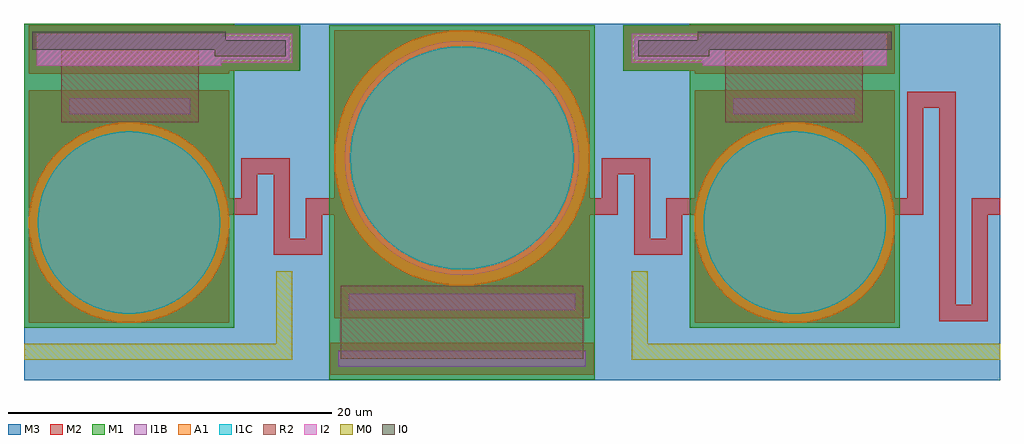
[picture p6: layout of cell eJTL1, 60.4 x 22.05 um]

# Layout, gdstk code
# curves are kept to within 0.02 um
from math import pi, radians
import gdstk
lib = gdstk.Library(unit=1e-6, precision=1e-09)
def R(c, l, rs):  # rectangles x0, y0, x1, y1
    for r in rs: c.add(gdstk.rectangle(r[:2], r[2:], *l))
def P(c, l, *ps):  # polygons
    for p in ps: c.add(gdstk.Polygon(p, *l))
M1 = (1, 0)
I1B = (3, 0)
I1C = (4, 0)
A1 = (5, 0)
M2 = (6, 0)
I2 = (8, 0)
R2 = (9, 0)
M3 = (10, 0)
M0 = (30, 0)
I0 = (31, 0)

meanderinductor_3 = lib.new_cell('MeanderInductor$3')
meanderinductor_3.add(gdstk.FlexPath([(-3.25,0),(-2,0),(-2,6.599),(0,6.599),(0,-6.599),(2,-6.599),(2,0),(3.25,0)], 1, ends="flush", simple_path=True, layer=6, datatype=0))  # M2

c_jj = lib.new_cell('JJ')
R(c_jj, M1, [(-8.21,-13.722,8.21,8.21)])
R(c_jj, I1B, [(-7.66,-12.922,7.66,-11.922), (-7,-9.41,7,-8.41)])
P(c_jj, I1B, [(0,-7.255),(-0.711,-7.22),(-1.415,-7.116),(-2.106,-6.943),(-2.777,-6.703),(-3.42,-6.399),(-4.031,-6.033),(-4.603,-5.608),(-5.13,-5.13),(-5.608,-4.603),(-6.033,-4.031),(-6.399,-3.42),(-6.703,-2.776),(-6.943,-2.106),(-7.116,-1.415),(-7.22,-0.711),(-7.255,0),(-7.22,0.711),(-7.116,1.415),(-6.943,2.106),(-6.703,2.777),(-6.399,3.42),(-6.033,4.031),(-5.608,4.603),(-5.13,5.13),(-4.603,5.608),(-4.031,6.033),(-3.42,6.399),(-2.777,6.703),(-2.106,6.943),(-1.415,7.116),(-0.711,7.22),(0,7.255),(0.711,7.22),(1.415,7.116),(2.106,6.943),(2.777,6.703),(3.42,6.399),(4.031,6.033),(4.603,5.608),(5.13,5.13),(5.608,4.603),(6.033,4.031),(6.399,3.42),(6.703,2.777),(6.943,2.106),(7.116,1.415),(7.22,0.711),(7.255,0),(7.22,-0.711),(7.116,-1.415),(6.943,-2.106),(6.703,-2.777),(6.399,-3.42),(6.033,-4.031),(5.608,-4.603),(5.13,-5.13),(4.603,-5.609),(4.031,-6.033),(3.42,-6.399),(2.776,-6.703),(2.106,-6.943),(1.415,-7.116),(0.711,-7.22)])
P(c_jj, I1C, [(0,-6.91),(-0.677,-6.877),(-1.348,-6.777),(-2.006,-6.612),(-2.644,-6.384),(-3.257,-6.094),(-3.839,-5.745),(-4.384,-5.341),(-4.886,-4.886),(-5.341,-4.384),(-5.745,-3.839),(-6.094,-3.257),(-6.384,-2.644),(-6.612,-2.006),(-6.777,-1.348),(-6.877,-0.677),(-6.91,0),(-6.877,0.677),(-6.777,1.348),(-6.612,2.006),(-6.384,2.644),(-6.094,3.257),(-5.745,3.839),(-5.341,4.384),(-4.886,4.886),(-4.384,5.341),(-3.839,5.745),(-3.257,6.094),(-2.644,6.384),(-2.006,6.612),(-1.348,6.777),(-0.677,6.877),(0,6.91),(0.677,6.877),(1.348,6.777),(2.006,6.612),(2.644,6.384),(3.257,6.094),(3.839,5.745),(4.384,5.341),(4.886,4.886),(5.341,4.384),(5.745,3.839),(6.094,3.257),(6.384,2.644),(6.612,2.006),(6.777,1.348),(6.877,0.677),(6.91,0),(6.877,-0.677),(6.777,-1.348),(6.612,-2.006),(6.384,-2.644),(6.094,-3.257),(5.745,-3.839),(5.341,-4.384),(4.886,-4.886),(4.384,-5.341),(3.839,-5.745),(3.257,-6.094),(2.644,-6.384),(2.006,-6.612),(1.348,-6.777),(0.677,-6.877)])
P(c_jj, A1, [(0,-7.91),(-0.775,-7.872),(-1.543,-7.758),(-2.296,-7.569),(-3.027,-7.308),(-3.729,-6.976),(-4.395,-6.577),(-5.018,-6.114),(-5.593,-5.593),(-6.115,-5.018),(-6.577,-4.395),(-6.976,-3.729),(-7.308,-3.027),(-7.569,-2.296),(-7.758,-1.543),(-7.872,-0.775),(-7.91,0),(-7.872,0.775),(-7.758,1.543),(-7.569,2.296),(-7.308,3.027),(-6.976,3.729),(-6.577,4.395),(-6.115,5.018),(-5.593,5.593),(-5.018,6.115),(-4.395,6.577),(-3.729,6.976),(-3.027,7.308),(-2.296,7.569),(-1.543,7.758),(-0.775,7.872),(0,7.91),(0.775,7.872),(1.543,7.758),(2.296,7.569),(3.027,7.308),(3.729,6.976),(4.395,6.577),(5.018,6.115),(5.593,5.593),(6.115,5.018),(6.577,4.395),(6.976,3.729),(7.308,3.027),(7.569,2.296),(7.758,1.543),(7.872,0.775),(7.91,0),(7.872,-0.775),(7.758,-1.543),(7.569,-2.296),(7.308,-3.027),(6.976,-3.729),(6.577,-4.395),(6.114,-5.018),(5.593,-5.593),(5.018,-6.115),(4.395,-6.577),(3.729,-6.976),(3.027,-7.308),(2.296,-7.569),(1.543,-7.758),(0.775,-7.872)])
R(c_jj, M2, [(-8.16,-13.422,8.16,-11.422), (-7.91,-9.91,7.91,-7.91), (-7.91,-7.91,7.91,7.91)])
R(c_jj, M3, [(-8.21,-13.722,8.21,8.21)])
c_jj.add(gdstk.FlexPath([(0,-7.91),(0,-12.422)], 15, ends="flush", simple_path=True, layer=9, datatype=0))  # R2

ak_qc1p2j000 = lib.new_cell('ak_qc1p2j000')
P(ak_qc1p2j000, I1B, [(0,-5.6),(-0.585,-5.569),(-1.164,-5.478),(-1.73,-5.326),(-2.188,-5.155),(-2.629,-4.945),(-3.131,-4.643),(-3.6,-4.29),(-3.96,-3.96),(-4.29,-3.6),(-4.643,-3.131),(-4.945,-2.629),(-5.155,-2.188),(-5.326,-1.73),(-5.478,-1.164),(-5.569,-0.585),(-5.6,0),(-5.569,0.585),(-5.478,1.164),(-5.326,1.73),(-5.155,2.188),(-4.945,2.629),(-4.643,3.131),(-4.29,3.6),(-3.96,3.96),(-3.6,4.29),(-3.131,4.643),(-2.629,4.945),(-2.188,5.155),(-1.73,5.326),(-1.164,5.478),(-0.585,5.569),(0,5.6),(0.585,5.569),(1.164,5.478),(1.73,5.326),(2.188,5.155),(2.629,4.945),(3.131,4.643),(3.6,4.29),(3.96,3.96),(4.29,3.6),(4.643,3.131),(4.945,2.629),(5.155,2.188),(5.326,1.73),(5.478,1.164),(5.569,0.585),(5.6,0),(5.569,-0.585),(5.478,-1.164),(5.326,-1.73),(5.155,-2.188),(4.945,-2.629),(4.643,-3.131),(4.29,-3.6),(3.96,-3.96),(3.6,-4.29),(3.131,-4.643),(2.629,-4.945),(2.188,-5.155),(1.73,-5.326),(1.164,-5.478),(0.585,-5.569)])
P(ak_qc1p2j000, I1C, [(0,-5.642),(-0.59,-5.611),(-1.077,-5.538),(-1.65,-5.395),(-2.113,-5.231),(-2.561,-5.027),(-3.073,-4.732),(-3.551,-4.385),(-3.989,-3.989),(-4.385,-3.551),(-4.732,-3.073),(-5.027,-2.561),(-5.231,-2.113),(-5.395,-1.65),(-5.538,-1.077),(-5.611,-0.59),(-5.642,0),(-5.611,0.59),(-5.538,1.077),(-5.395,1.65),(-5.231,2.113),(-5.027,2.561),(-4.732,3.073),(-4.385,3.551),(-3.989,3.989),(-3.551,4.385),(-3.073,4.732),(-2.561,5.027),(-2.113,5.231),(-1.65,5.395),(-1.077,5.538),(-0.59,5.611),(0,5.642),(0.59,5.611),(1.077,5.538),(1.65,5.395),(2.113,5.231),(2.561,5.027),(3.073,4.732),(3.551,4.385),(3.989,3.989),(4.385,3.551),(4.732,3.073),(5.027,2.561),(5.231,2.113),(5.395,1.65),(5.538,1.077),(5.611,0.59),(5.642,0),(5.611,-0.59),(5.538,-1.077),(5.395,-1.65),(5.231,-2.113),(5.027,-2.561),(4.732,-3.073),(4.385,-3.551),(3.989,-3.989),(3.551,-4.385),(3.073,-4.732),(2.561,-5.027),(2.113,-5.231),(1.65,-5.395),(1.077,-5.538),(0.59,-5.611)])
P(ak_qc1p2j000, A1, [(0,-6.2),(-0.648,-6.166),(-1.183,-6.086),(-1.709,-5.96),(-2.323,-5.749),(-2.911,-5.474),(-3.377,-5.2),(-3.902,-4.818),(-4.384,-4.384),(-4.818,-3.902),(-5.2,-3.377),(-5.474,-2.911),(-5.749,-2.323),(-5.96,-1.709),(-6.086,-1.183),(-6.166,-0.648),(-6.2,0),(-6.166,0.648),(-6.086,1.183),(-5.96,1.709),(-5.749,2.323),(-5.474,2.911),(-5.2,3.377),(-4.818,3.902),(-4.384,4.384),(-3.902,4.818),(-3.377,5.2),(-2.911,5.474),(-2.323,5.749),(-1.709,5.96),(-1.183,6.086),(-0.648,6.166),(0,6.2),(0.648,6.166),(1.183,6.086),(1.709,5.96),(2.323,5.749),(2.911,5.474),(3.377,5.2),(3.902,4.818),(4.384,4.384),(4.818,3.902),(5.2,3.377),(5.474,2.911),(5.749,2.323),(5.96,1.709),(6.086,1.183),(6.166,0.648),(6.2,0),(6.166,-0.648),(6.086,-1.183),(5.96,-1.709),(5.749,-2.323),(5.474,-2.911),(5.2,-3.377),(4.818,-3.902),(4.384,-4.384),(3.902,-4.818),(3.377,-5.2),(2.911,-5.474),(2.323,-5.749),(1.709,-5.96),(1.183,-6.086),(0.648,-6.166)])

ak_qc10r24 = lib.new_cell('ak_qc10r24')
R(ak_qc10r24, I1B, [(-4.1,-5.5,4.2,-3.5), (-3.7,-1.5,3.8,-0.5)])
R(ak_qc10r24, M2, [(-4.6,-6,4.7,-3), (-4.6,-2,4.7,0)])
R(ak_qc10r24, R2, [(-4.2,-4.5,4.3,0)])

ak_qc1p2j000s = lib.new_cell('ak_qc1p2j000s')
R(ak_qc1p2j000s, M1, [(-6.5,-12.3,6.5,6.5)])
R(ak_qc1p2j000s, I1B, [(-5.7,-11.7,5.7,-9.7)])
R(ak_qc1p2j000s, M2, [(-6.2,-12.2,6.2,-9.2), (-6.2,-8.2,6.2,6.2)])
ak_qc1p2j000s.add(gdstk.Reference(ak_qc1p2j000, (0,0)))
ak_qc1p2j000s.add(gdstk.Reference(ak_qc10r24, (0,-6.2)))

ak_qc1p2j000sgd = lib.new_cell('ak_qc1p2j000sgd')
R(ak_qc1p2j000sgd, I2, [(-5.7,-11.7,5.7,-9.7)])
R(ak_qc1p2j000sgd, M3, [(-6.2,-12.2,6.2,-9.2)])
R(ak_qc1p2j000sgd, I0, [(-6,-11.8,6,-10.7)])
ak_qc1p2j000sgd.add(gdstk.Reference(ak_qc1p2j000s, (0,0)))

meanderinductor_5 = lib.new_cell('MeanderInductor$5')
meanderinductor_5.add(gdstk.FlexPath([(-3.25,0),(-2,0),(-2,2.487),(0,2.487),(0,-2.487),(2,-2.487),(2,0),(3.25,0)], 1, ends="flush", simple_path=True, layer=6, datatype=0))  # M2

ejtl1 = lib.new_cell('eJTL1')
R(ejtl1, M3, [(-27.1,-10.75,33.3,11.3)])
ejtl1.add(gdstk.FlexPath([(-15.5,9.8),(-10.7,9.8)], 1.4, ends="flush", simple_path=True, layer=3, datatype=0))  # I1B
ejtl1.add(gdstk.FlexPath([(15.5,9.8),(10.7,9.8)], 1.4, ends="flush", simple_path=True, layer=3, datatype=0))  # I1B
ejtl1.add(gdstk.FlexPath([(-16.2,9.8),(-10,9.8)], 2.8, ends="flush", simple_path=True, layer=6, datatype=0))  # M2
ejtl1.add(gdstk.FlexPath([(16.2,9.8),(10,9.8)], 2.8, ends="flush", simple_path=True, layer=6, datatype=0))  # M2
ejtl1.add(gdstk.FlexPath([(-16.2,9.8),(-10,9.8)], 2.8, ends="flush", simple_path=True, layer=1, datatype=0))  # M1
ejtl1.add(gdstk.FlexPath([(16.2,9.8),(10,9.8)], 2.8, ends="flush", simple_path=True, layer=1, datatype=0))  # M1
ejtl1.add(gdstk.FlexPath([(-15.7,9.9),(-9.5,9.9)], 2.8, ends="flush", simple_path=True, layer=10, datatype=0))  # M3
ejtl1.add(gdstk.FlexPath([(15.7,9.9),(9.5,9.9)], 2.8, ends="flush", simple_path=True, layer=10, datatype=0))  # M3
ejtl1.add(gdstk.FlexPath([(-15.3,9.8),(-10.9,9.8)], 1, ends="flush", simple_path=True, layer=31, datatype=0))  # I0
ejtl1.add(gdstk.FlexPath([(15.3,9.8),(10.9,9.8)], 1, ends="flush", simple_path=True, layer=31, datatype=0))  # I0
ejtl1.add(gdstk.FlexPath([(-15.7,9.8),(-10.5,9.8)], 1.8, ends="flush", simple_path=True, layer=8, datatype=0))  # I2
ejtl1.add(gdstk.FlexPath([(15.7,9.8),(10.5,9.8)], 1.8, ends="flush", simple_path=True, layer=8, datatype=0))  # I2
ejtl1.add(gdstk.FlexPath([(-11,-4),(-11,-9),(-27.1,-9)], 1, ends="flush", simple_path=True, layer=30, datatype=0))  # M0
ejtl1.add(gdstk.FlexPath([(11,-4),(11,-9),(33.3,-9)], 1, ends="flush", simple_path=True, layer=30, datatype=0))  # M0
ejtl1.add(gdstk.Reference(meanderinductor_3, (30.05,0)))
ejtl1.add(gdstk.Reference(c_jj, (0,3)))
ejtl1.add(gdstk.Reference(ak_qc1p2j000sgd, (-20.6,-1), x_reflection=True))
ejtl1.add(gdstk.Reference(ak_qc1p2j000sgd, (20.6,-1), rotation=pi))
ejtl1.add(gdstk.Reference(meanderinductor_5, (-11.15,0)))
ejtl1.add(gdstk.Reference(meanderinductor_5, (11.15,0)))

lib.write_gds('eJTL1.gds')
